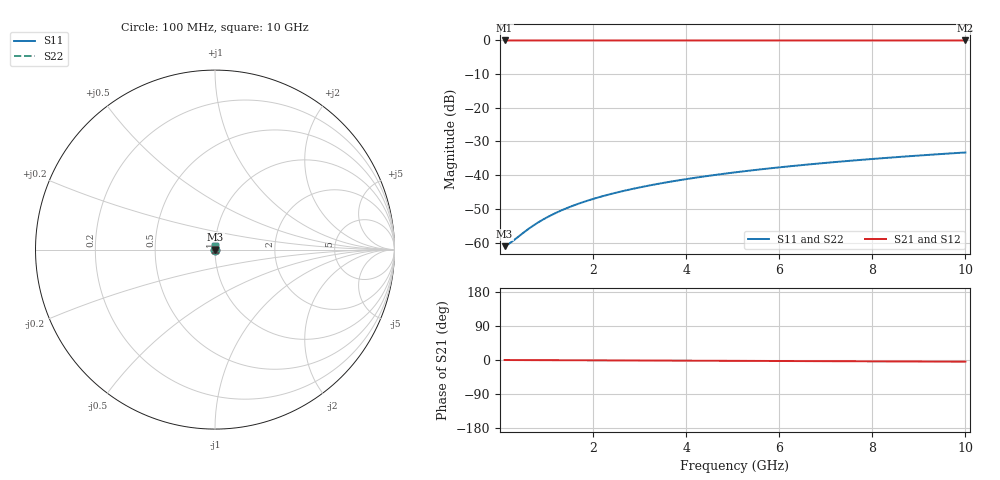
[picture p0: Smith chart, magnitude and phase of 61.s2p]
# Hz S RI R 50.00
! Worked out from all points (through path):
!   100 points, 100 MHz to 10 GHz, reference 50 ohm
!   highest |S21| = -0.01 dB at 100 MHz (marker M1); lowest = 0.0 dB at 10 GHz (marker M2)
!   lowest |S11| = -61.1 dB at 100 MHz (marker M3), VSWR 1.00, Z = 50.1 + j0.0217 ohm
!   |S11| at or under -10 dB: start of sweep to end of sweep
!   |S22| runs from -61.1 to -33.3 dB; largest |S21 - S12| = 0
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1e8  0.000857 0.000217  0.9991 -0.000771  0.9991 -0.000771  0.000857 0.000217
2e8  0.000863 0.000433  0.9991 -0.00154  0.9991 -0.00154  0.000863 0.000433
3e8  0.000867 0.00065  0.9991 -0.00231  0.9991 -0.00231  0.000867 0.00065
5e8  0.000876 0.00108  0.9991 -0.00385  0.9991 -0.00385  0.000876 0.00108
7e8  0.000884 0.00152  0.9991 -0.00539  0.9991 -0.00539  0.000884 0.00152
8e8  0.000889 0.00173  0.9991 -0.00617  0.9991 -0.00617  0.000889 0.00173
1e9  0.000898 0.00217  0.9991 -0.00771  0.9991 -0.00771  0.000898 0.00217
1.2e9  0.000909 0.0026  0.9991 -0.00925  0.9991 -0.00925  0.000909 0.0026
1.4e9  0.00092 0.00303  0.999 -0.0108  0.999 -0.0108  0.00092 0.00303
1.6e9  0.000932 0.00346  0.999 -0.0123  0.999 -0.0123  0.000932 0.00346
1.8e9  0.000946 0.0039  0.999 -0.0139  0.999 -0.0139  0.000946 0.0039
2.1e9  0.000968 0.00455  0.999 -0.0162  0.999 -0.0162  0.000968 0.00455
2.5e9  0.001 0.00541  0.9989 -0.0193  0.9989 -0.0193  0.001 0.00541
2.9e9  0.00104 0.00628  0.9988 -0.0224  0.9988 -0.0224  0.00104 0.00628
3.4e9  0.0011 0.00736  0.9987 -0.0262  0.9987 -0.0262  0.0011 0.00736
4.2e9  0.00121 0.00909  0.9985 -0.0324  0.9985 -0.0324  0.00121 0.00909
5.1e9  0.00135 0.011  0.9982 -0.0393  0.9982 -0.0393  0.00135 0.011
5.9e9  0.0015 0.0128  0.9979 -0.0455  0.9979 -0.0455  0.0015 0.0128
6.7e9  0.00168 0.0145  0.9976 -0.0517  0.9976 -0.0517  0.00168 0.0145
7.5e9  0.00187 0.0162  0.9972 -0.0578  0.9972 -0.0578  0.00187 0.0162
8.4e9  0.00212 0.0181  0.9967 -0.0648  0.9967 -0.0648  0.00212 0.0181
1e10  0.00262 0.0216  0.9958 -0.0771  0.9958 -0.0771  0.00262 0.0216
